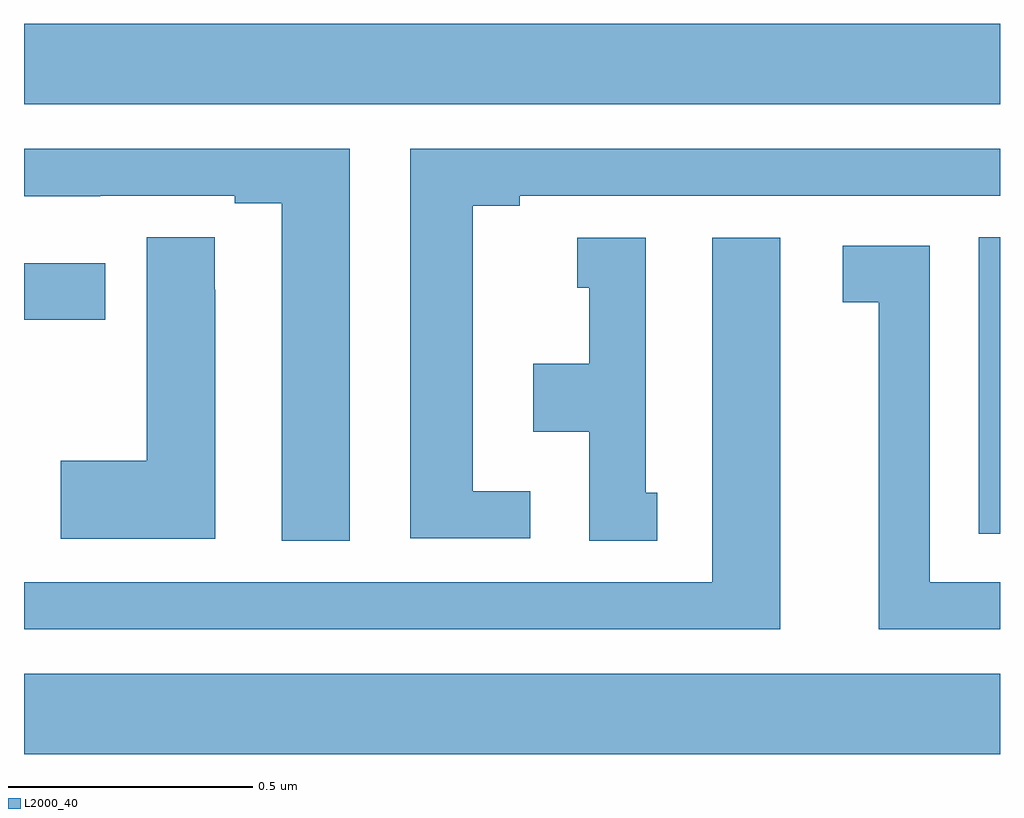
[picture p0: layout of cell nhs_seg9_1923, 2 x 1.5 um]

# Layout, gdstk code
import gdstk
lib = gdstk.Library(unit=1e-6, precision=1e-09)
def R(c, l, rs):  # rectangles x0, y0, x1, y1
    for r in rs: c.add(gdstk.rectangle(r[:2], r[2:], *l))
def P(c, l, *ps):  # polygons
    for p in ps: c.add(gdstk.Polygon(p, *l))
L2000_40 = (2000, 40)

nhs_seg9_1923 = lib.new_cell('nhs_seg9_1923')
R(nhs_seg9_1923, L2000_40, [(134,1201.748,136,1201.912), (135.956,1202.199,136,1202.807), (134,1202.638,134.167,1202.754), (134,1203.08,136,1203.244)])
P(nhs_seg9_1923, L2000_40, [(134.668,1202.988),(134,1202.988),(134,1202.891),(134.156,1202.891),(134.156,1202.892),(134.432,1202.892),(134.432,1202.877),(134.528,1202.877),(134.528,1202.185),(134.668,1202.185)],
  [(135.037,1202.286),(134.92,1202.286),(134.92,1202.872),(135.016,1202.872),(135.016,1202.892),(136,1202.892),(136,1202.988),(134.792,1202.988),(134.792,1202.19),(135.037,1202.19)],
  [(134.392,1202.699),(134.391,1202.699),(134.391,1202.807),(134.252,1202.807),(134.252,1202.349),(134.075,1202.349),(134.075,1202.189),(134.392,1202.189)],
  [(135.298,1202.283),(135.274,1202.283),(135.274,1202.806),(135.134,1202.806),(135.134,1202.703),(135.158,1202.703),(135.158,1202.548),(135.044,1202.548),(135.044,1202.408),(135.158,1202.408),(135.158,1202.185),(135.298,1202.185)],
  [(135.55,1202.806),(135.41,1202.806),(135.41,1202.1),(134,1202.1),(134,1202.004),(135.55,1202.004)],
  [(136,1202.1),(135.856,1202.1),(135.856,1202.79),(135.678,1202.79),(135.678,1202.674),(135.752,1202.674),(135.752,1202.004),(136,1202.004)])

lib.write_gds('nhs_seg9_1923.gds')
